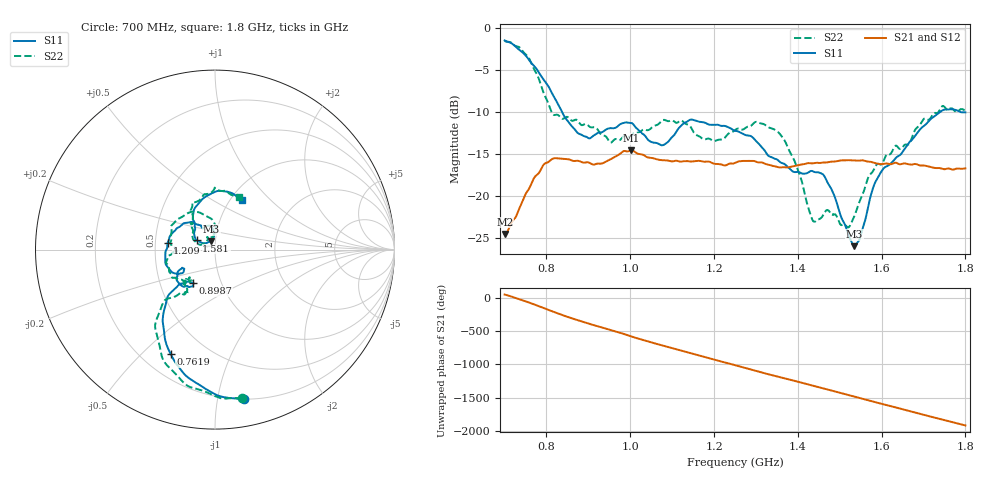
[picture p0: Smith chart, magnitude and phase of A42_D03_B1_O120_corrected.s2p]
! Created with skrf 1.9.0 (http://scikit-rf.org).
# Hz S RI R 50.0
!freq ReS11 ImS11 ReS21 ImS21 ReS12 ImS12 ReS22 ImS22
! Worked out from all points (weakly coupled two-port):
!   1601 points, 700 MHz to 1.8 GHz, reference 50 ohm
!   highest |S21| = -14.54 dB at 1.002 GHz (marker M1); lowest = -24.5 dB at 700.7 MHz (marker M2)
!   lowest |S11| = -25.9 dB at 1.535 GHz (marker M3), VSWR 1.11, Z = 47.7 + j4.38 ohm
!   |S11| at or under -10 dB: 837.6 MHz to 1.739 GHz (900.9 MHz wide, 69.9 % of centre); 1.794146 GHz to 1.795033 GHz (887 kHz wide, 0.0494 % of centre); 1.798814 GHz to end of sweep (the widest 3 of 5)
!   |S22| runs from -23.7 to -1.5 dB; largest |S21 - S12| = 0.0035
!   S11 on the Smith chart (normalised r, x): 700 MHz: 0.20, -1.19; 761.9 MHz: 0.32, -0.61; 898.7 MHz: 0.73, -0.28; 1.209 GHz: 0.58, +0.05; 1.581 GHz: 0.81, +0.08; 1.8 GHz: 1.13, +0.70
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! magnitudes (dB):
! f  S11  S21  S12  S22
! 700 MHz  -1.4  -24.5  -24.3  -1.5
! 700.7 MHz  -1.4  -24.5  -24.2  -1.5
! 761.9 MHz  -4.0  -18.7  -18.7  -3.9
! 814.8 MHz  -7.9  -15.5  -15.6  -10.2
! 883.6 MHz  -12.7  -15.9  -15.8  -11.5
! 898.7 MHz  -13.0  -15.9  -16.0  -11.5
! 953 MHz  -11.9  -15.6  -15.6  -13.6
! 1.002 GHz  -11.3  -14.5  -14.7  -12.8
! 1.067 GHz  -13.7  -15.6  -15.6  -11.4
! 1.143 GHz  -10.9  -15.9  -15.8  -11.6
! 1.209 GHz  -11.5  -16.2  -16.2  -13.3
! 1.25 GHz  -12.2  -16.0  -16.0  -12.1
! 1.357 GHz  -15.9  -16.6  -16.5  -12.5
! 1.395 GHz  -17.1  -16.4  -16.4  -16.2
! 1.434 GHz  -17.0  -16.1  -16.0  -22.7
! 1.465 GHz  -17.8  -16.0  -16.0  -21.8
! 1.519 GHz  -24.3  -15.7  -15.7  -23.7
! 1.535 GHz  -25.9  -15.7  -15.8  -22.4
! 1.581 GHz  -18.8  -16.0  -16.0  -16.9
! 1.617 GHz  -16.3  -16.1  -16.1  -15.0
! 1.74 GHz  -9.9  -16.7  -16.7  -9.6
! 1.8 GHz  -10.0  -16.7  -16.7  -9.8
